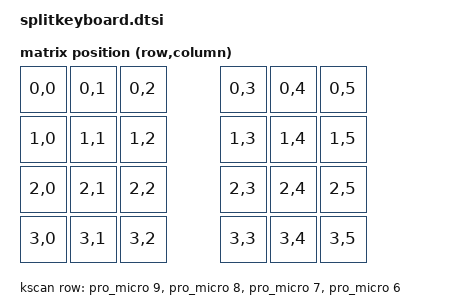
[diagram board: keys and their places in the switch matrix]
#include <physical_layouts.dtsi>
#include <dt-bindings/zmk/matrix_transform.h>

/ {
    chosen {
        zmk,physical-layout = &layout;
    };

    kscan: kscan {
        compatible = "zmk,kscan-gpio-matrix";
        diode-direction = "col2row";

        row-gpios = <&pro_micro 9 (GPIO_ACTIVE_HIGH | GPIO_PULL_DOWN)>,
                    <&pro_micro 8 (GPIO_ACTIVE_HIGH | GPIO_PULL_DOWN)>,
                    <&pro_micro 7 (GPIO_ACTIVE_HIGH | GPIO_PULL_DOWN)>,
                    <&pro_micro 6 (GPIO_ACTIVE_HIGH | GPIO_PULL_DOWN)>;
    };

    aliases {
        led-red = &led0;
        led-green = &led1;
        led-blue = &led2;
    };

leds {
    compatible = "gpio-leds";
    status = "okay";
    led0: led_0 {
        gpios = <&gpio0 15 GPIO_ACTIVE_HIGH>;  // red LED, connected to P0.26     
    };
    led1: led_1 {
        gpios = <&gpio0 0 GPIO_ACTIVE_HIGH>;  // green LED, connected to P0.30
    };
    led2: led_2 {
        gpios = <&gpio0 0 GPIO_ACTIVE_HIGH>;  // blue LED, connected to P0.06
    };
};


    transform: matrix_transform {
        compatible = "zmk,matrix-transform";
        rows = <4>;
        columns = <5>;

        map = <
                RC(0, 0) RC(0, 1) RC(0, 2) RC(0, 3) RC(0, 4) RC(0, 5) 
                RC(1, 0) RC(1, 1) RC(1, 2) RC(1, 3) RC(1, 4) RC(1, 5) 
                RC(2, 0) RC(2, 1) RC(2, 2) RC(2, 3) RC(2, 4) RC(2, 5) 
                RC(3, 0) RC(3, 1) RC(3, 2) RC(3, 3) RC(3, 4) RC(3, 5) 
        >;
    };

    layout: layout {
        compatible = "zmk,physical-layout";
        display-name = "Split Ortho 4*3";
        transform = <&transform>;
        kscan = <&kscan>;

        keys  //                     w   h    x    y     rot    rx    ry
            = <&key_physical_attrs 100 100    0    0       0     0     0>
            , <&key_physical_attrs 100 100  100    0       0     0     0>
            , <&key_physical_attrs 100 100  200    0       0     0     0>
            , <&key_physical_attrs 100 100  400    0       0     0     0>
            , <&key_physical_attrs 100 100  500    0       0     0     0>
            , <&key_physical_attrs 100 100  600    0       0     0     0>
            , <&key_physical_attrs 100 100    0  100       0     0     0>
            , <&key_physical_attrs 100 100  100  100       0     0     0>
            , <&key_physical_attrs 100 100  200  100       0     0     0>
            , <&key_physical_attrs 100 100  400  100       0     0     0>
            , <&key_physical_attrs 100 100  500  100       0     0     0>
            , <&key_physical_attrs 100 100  600  100       0     0     0>
            , <&key_physical_attrs 100 100    0  200       0     0     0>
            , <&key_physical_attrs 100 100  100  200       0     0     0>
            , <&key_physical_attrs 100 100  200  200       0     0     0>
            , <&key_physical_attrs 100 100  400  200       0     0     0>
            , <&key_physical_attrs 100 100  500  200       0     0     0>
            , <&key_physical_attrs 100 100  600  200       0     0     0>
            , <&key_physical_attrs 100 100    0  300       0     0     0>
            , <&key_physical_attrs 100 100  100  300       0     0     0>
            , <&key_physical_attrs 100 100  200  300       0     0     0>
            , <&key_physical_attrs 100 100  400  300       0     0     0>
            , <&key_physical_attrs 100 100  500  300       0     0     0>
            , <&key_physical_attrs 100 100  600  300       0     0     0>
            ;
    };
};
